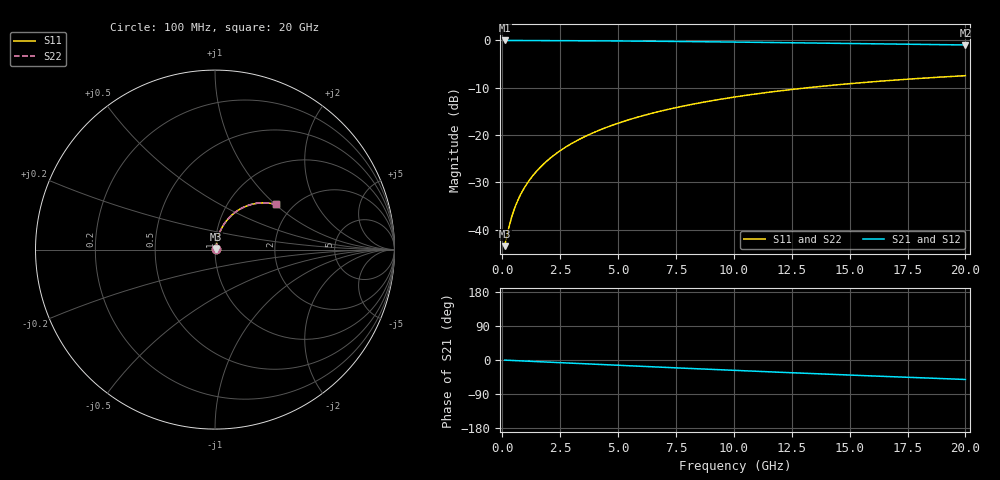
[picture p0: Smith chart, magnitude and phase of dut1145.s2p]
! Touchstone file exported from HFSS 2026.1.0
!  File:  C:/ffzhzh/LocalFiles/Ansys_Project_Files/temp_train_TMRDL_1145_1783162026_43440.aedt
!  Generated:  06:48:20 PM Jul  4, 2026
!  Design:  TMRDL
!  Project:  temp_train_TMRDL_1145_1783162026_43440
! Variables:
!  h_bsmrdl = 2um
!  h_ox = 20um
!  h_rdl = 5um
!  h_sub = 80um
!  h_tmrdl = 2.67um
!  h_tsv = 80um
!  h_via = 3um
!  l_bsmrdl = 300um
!  l_sub = 1201.23um
!  l_tmrdl = 801.23um
!  m_sub = 200um
!  pitch = 37.48um
!  r_tsv = 6um
!  s_tmrdl = 10um
!  w_bsmrdl = 18um
!  w_sub = 500um
!  w_tmrdl = 18.31um
!  x_tsv_center1 = 810.385um
!  x_tsv_center2 = 1128.385um
!  x_tsv_center3 = 1947.925um
!  x_tsv_center4 = 2265.925um
!  x_tsv_center5 = 3085.465um
!  x_tsv_center6 = 3403.465um
# GHz S MA R 50.000000
! Terminal data exported
! Port[1] = TM_RDL1_1_T1
! Port[2] = TM_RDL1_1_T2
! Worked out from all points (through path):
!   200 points, 100 MHz to 20 GHz, reference 50 ohm
!   highest |S21| = -0.05 dB at 100 MHz (marker M1); lowest = -1.0 dB at 20 GHz (marker M2)
!   group delay of S21, straight-line fit = 7.14 ps
!   lowest |S11| = -43.5 dB at 100 MHz (marker M3), VSWR 1.01, Z = 50.6 + j0.304 ohm
!   |S11| at or under -10 dB: start of sweep to 13.26 GHz
!   |S22| runs from -43.5 to -7.5 dB; largest |S21 - S12| = 3e-15
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0.1  0.006672 26.8  0.9941 -0.3  0.9941 -0.3  0.006672 26.8
! Gamma 0 0 0 0
! Port Impedance 50 0 50 0
0.3  0.01092 53.9  0.9937 -0.9  0.9937 -0.9  0.01092 53.9
0.4  0.01343 59.7  0.9934 -1.2  0.9934 -1.2  0.01343 59.7
0.5  0.01598 63.6  0.9932 -1.5  0.9932 -1.5  0.01598 63.6
0.6  0.01854 66.3  0.9929 -1.7  0.9929 -1.7  0.01854 66.3
0.7  0.0211 68.4  0.9927 -2.0  0.9927 -2.0  0.0211 68.4
0.9  0.02624 71.2  0.9924 -2.6  0.9924 -2.6  0.02624 71.2
1.2  0.034 73.7  0.9919 -3.4  0.9919 -3.4  0.034 73.7
1.4  0.0392 74.7  0.9916 -4.0  0.9916 -4.0  0.0392 74.7
1.7  0.04705 75.6  0.9911 -4.8  0.9911 -4.8  0.04705 75.6
2.2  0.06018 76.1  0.9902 -6.2  0.9902 -6.2  0.06018 76.2
2.8  0.07594 75.9  0.9889 -7.9  0.9889 -7.9  0.07593 75.9
3.5  0.09422 75.0  0.9871 -9.8  0.9871 -9.8  0.09422 75.0
4.2  0.1123 73.7  0.9849 -11.8  0.9849 -11.8  0.1123 73.8
5  0.1328 72.1  0.982 -14.0  0.982 -14.0  0.1327 72.1
5.9  0.1553 70.0  0.9782 -16.4  0.9782 -16.4  0.1553 70.0
6.8  0.1773 67.9  0.974 -18.8  0.974 -18.8  0.1773 67.9
8.3  0.2126 64.2  0.9662 -22.8  0.9662 -22.8  0.2126 64.2
10.1  0.2527 59.7  0.9556 -27.5  0.9556 -27.5  0.2526 59.8
13.4  0.3188 51.7  0.9343 -35.9  0.9343 -35.9  0.3187 51.8
16.7  0.3752 44.0  0.9123 -43.8  0.9123 -43.8  0.3751 44.1
20  0.422 36.6  0.8912 -51.4  0.8912 -51.4  0.422 36.7
